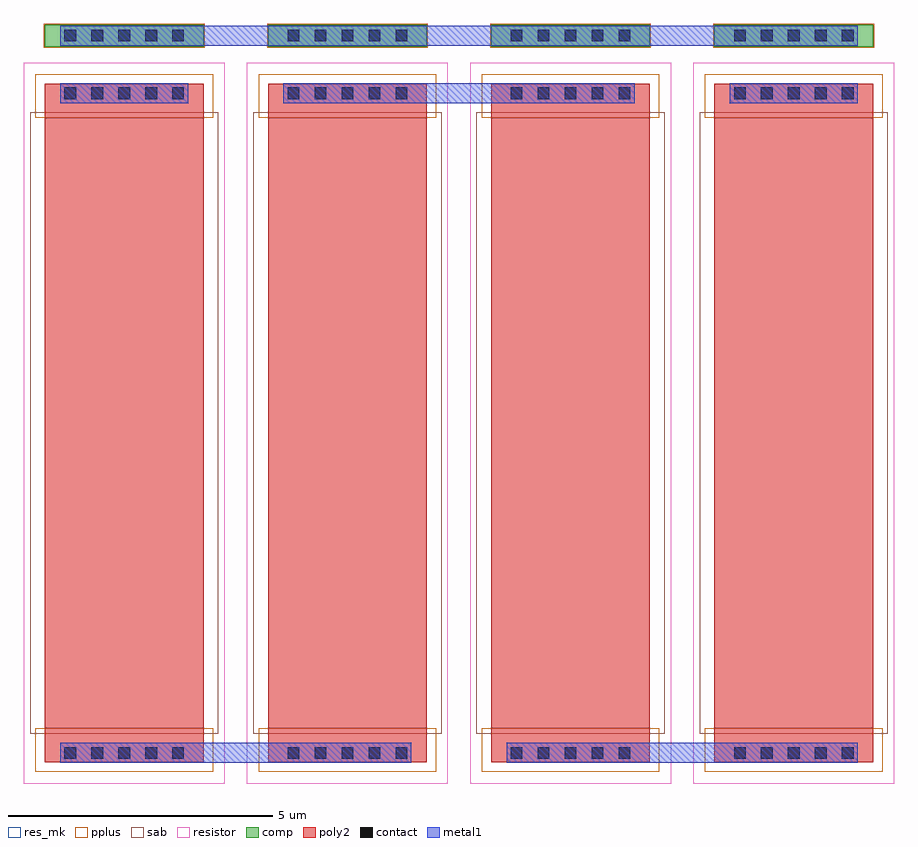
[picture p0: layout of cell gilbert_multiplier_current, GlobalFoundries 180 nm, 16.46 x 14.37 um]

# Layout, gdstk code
from math import pi, radians
import gdstk
lib = gdstk.Library(unit=1e-6, precision=5e-09)
def R(c, l, rs):  # rectangles x0, y0, x1, y1
    for r in rs: c.add(gdstk.rectangle(r[:2], r[2:], *l))
def A(c, l, x, y, w, h, nx, ny, dx, dy):  # array of equal rectangles
    R(c, l, [(x+i*dx, y+j*dy, x+i*dx+w, y+j*dy+h) for i in range(nx) for j in range(ny)])
comp = (22, 0)
poly2 = (30, 0)
pplus = (31, 0)
contact = (33, 0)
metal1 = (34, 0)
sab = (49, 0)
resistor = (62, 0)
res_mk = (110, 5)

ppolyf_u_high_rs_resisto = lib.new_cell('ppolyf_u_high_Rs_resistor')
R(ppolyf_u_high_rs_resisto, comp, [(-1.76,0,-1.34,3)])
R(ppolyf_u_high_rs_resisto, poly2, [(-0.64,0,12.19,3)])
R(ppolyf_u_high_rs_resisto, pplus, [(-0.82,-0.18,0,3.18), (11.55,-0.18,12.37,3.18), (-1.78,-0.02,-1.32,3.02)])
A(ppolyf_u_high_rs_resisto, contact, -1.66, 0.37, 0.22, 0.22, 1, 5, 0, 0.51)
A(ppolyf_u_high_rs_resisto, contact, -0.57, 0.37, 0.22, 0.22, 1, 5, 0, 0.51)
A(ppolyf_u_high_rs_resisto, contact, 11.9, 0.37, 0.22, 0.22, 1, 5, 0, 0.51)
R(ppolyf_u_high_rs_resisto, metal1, [(-1.74,0.29,-1.36,2.71), (-0.65,0.29,-0.27,2.71), (11.82,0.29,12.2,2.71)])
R(ppolyf_u_high_rs_resisto, sab, [(-0.1,-0.28,11.65,3.28)])
R(ppolyf_u_high_rs_resisto, resistor, [(-1.04,-0.4,12.59,3.4)])
R(ppolyf_u_high_rs_resisto, res_mk, [(0,0,11.55,3)])

gilbert_multiplier_curre = lib.new_cell('gilbert_multiplier_current')
R(gilbert_multiplier_curre, metal1, [(5.5,2.04,12.14,2.42), (13.94,2.04,20.58,2.42), (9.72,14.51,16.36,14.89), (5.5,15.6,20.58,15.98)])
gilbert_multiplier_curre.add(gdstk.Reference(ppolyf_u_high_rs_resisto, (9.43,14.24), rotation=3*pi/2))
gilbert_multiplier_curre.add(gdstk.Reference(ppolyf_u_high_rs_resisto, (13.65,14.24), rotation=3*pi/2))
gilbert_multiplier_curre.add(gdstk.Reference(ppolyf_u_high_rs_resisto, (17.87,14.24), rotation=3*pi/2))
gilbert_multiplier_curre.add(gdstk.Reference(ppolyf_u_high_rs_resisto, (5.21,14.24), rotation=3*pi/2))
gilbert_multiplier_curre.add(gdstk.Label('I_o_p', (24.65,32.7), layer=34, texttype=10))
gilbert_multiplier_curre.add(gdstk.Label('I_o_n', (24.65,33.725), layer=34, texttype=10))
gilbert_multiplier_curre.add(gdstk.Label('V_w_n', (24.85,30.92), layer=34, texttype=10))
gilbert_multiplier_curre.add(gdstk.Label('V_tail', (26.11,19.6), layer=34, texttype=10))
gilbert_multiplier_curre.add(gdstk.Label('VSS', (1.39,15.77), layer=34, texttype=10))
gilbert_multiplier_curre.add(gdstk.Label('V_x_p', (1.655,24.585), layer=34, texttype=10))
gilbert_multiplier_curre.add(gdstk.Label('V_x_n', (24.66,24.585), layer=34, texttype=10))
gilbert_multiplier_curre.add(gdstk.Label('V_w_p', (1.655,29.15), layer=34, texttype=10))

lib.write_gds('gilbert_multiplier_current.gds')
